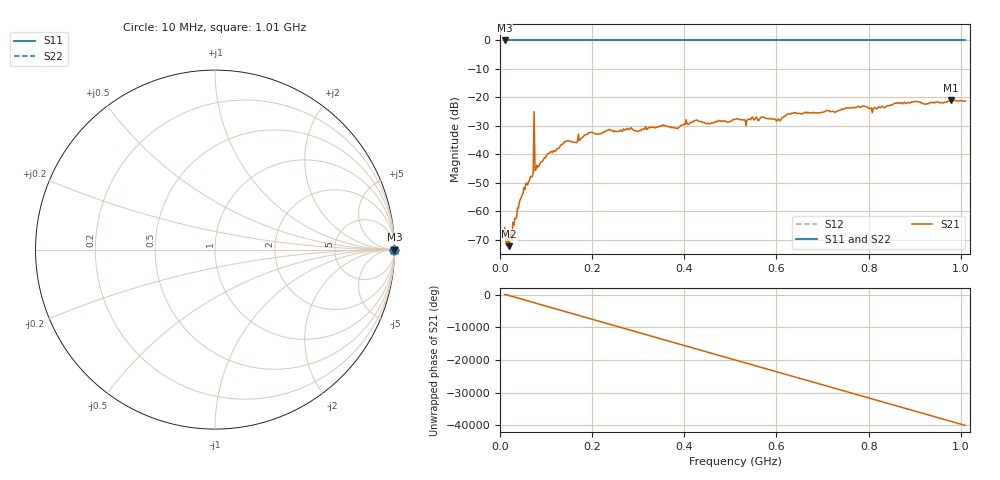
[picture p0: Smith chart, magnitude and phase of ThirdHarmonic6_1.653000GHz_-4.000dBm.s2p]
! 8/16/2025 7:47:26 PM
! C:\ANRITSUVNA\TEMP\TEMP.S2P
! CHANNEL.1
! TR.MEASUREMENT
! RAW.DATA
! RF.CORRECTION.OFF
! AVERAGING.OFF
! IF.BANDWIDTH: 5KHZ
! SWEEPTYPE:  FREQ.SWEEP(Linear)
! Reference Plane Port Info
! PORT:  PORT1  PORT2
! DISTANCE:  0  m  0  m
! TIME:  0  s  0  s
! PHASE.OFFSET:  0  deg.  0  deg.
! LOSS:  0  dB  0  dB
! REF.LOSS:  0  dB  0  dB
! REF.FREQ:  0  Hz  0  Hz
! Power Info
! POWER:  -20  dBm  -20  dBm
! EFF.POWER:  -20  dBm  -20  dBm
! SOURCE.ATTEN:  0  dB  0  dB
! TEST.ATTEN:  0  dB  0  dB
# GHZ S RI R 50.0
! FREQ.GHZ  S11RE  S11IM  S21RE  S21IM  S12RE  S12IM  S22RE  S22IM
!; PortSelection: Port_12
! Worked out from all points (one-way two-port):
!   501 points, 10 MHz to 1.01 GHz, reference 50 ohm
!   highest |S21| = -20.96 dB at 978 MHz (marker M1); lowest = -72.2 dB at 20 MHz (marker M2)
!   lowest |S11| = 0.0 dB at 10 MHz (marker M3)
!   |S11| at or under -10 dB: nowhere
!   |S22| runs from 0.0 to 0.0 dB; largest |S21 - S12| = 1.1
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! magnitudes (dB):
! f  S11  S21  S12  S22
! 10 MHz  0.0  -65.7  0.0  0.0
! 16 MHz  0.0  -69.6  0.0  0.0
! 20 MHz  0.0  -72.2  0.0  0.0
! 22 MHz  0.0  -68.4  0.0  0.0
! 48 MHz  0.0  -54.2  0.0  0.0
! 68 MHz  0.0  -47.8  0.0  0.0
! 70 MHz  0.0  -47.8  0.0  0.0
! 76 MHz  0.0  -45.7  0.0  0.0
! 78 MHz  0.0  -45.3  0.0  0.0
! 80 MHz  0.0  -43.7  0.0  0.0
! 106 MHz  0.0  -39.7  0.0  0.0
! 142 MHz  0.0  -35.5  0.0  0.0
! 178 MHz  0.0  -34.1  0.0  0.0
! 196 MHz  0.0  -32.3  0.0  0.0
! 344 MHz  0.0  -30.4  0.0  0.0
! 510 MHz  0.0  -27.7  0.0  0.0
! 604 MHz  0.0  -27.5  0.0  0.0
! 636 MHz  0.0  -25.5  0.0  0.0
! 678 MHz  0.0  -25.4  0.0  0.0
! 844 MHz  0.0  -23.0  0.0  0.0
! 978 MHz  0.0  -21.0  0.0  0.0
! 1.01 GHz  0.0  -21.3  0.0  0.0
